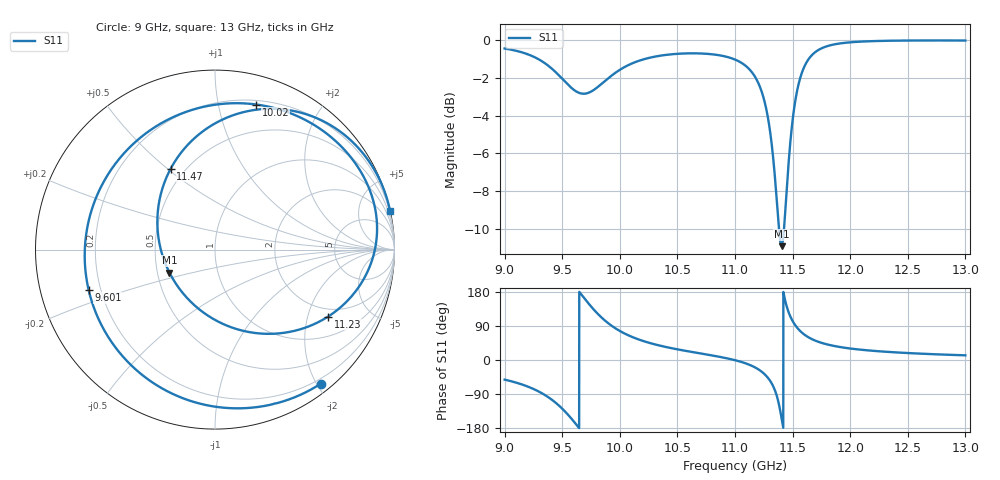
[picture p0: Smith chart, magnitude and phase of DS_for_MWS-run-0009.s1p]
! TOUCHSTONE file generated by CST DESIGN STUDIO
! Date and time: Tue Feb  4 13:35:35 2025
! Project name: C:\Work\MatlabApps\UnitCellOptimizationMatlab\CST\unitcell.cst
! Tree item: Tasks\Sweep1\SPara1\S-Parameters
! Header version: 2024
! Port assignment regex: !\s*Touchstone port\s*([0-9]+)\s*=\s*(CST MWS port|CST DES external port|CST DES block port)\s*(.+)\s* \(\"(.*)\"\)(\s*mode\s*([0-9]+))?.*
! Touchstone port assignment:
! Touchstone port 1 = CST DES external port 1 ("")
# GHz S MA R 50
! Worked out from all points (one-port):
!   4001 points, 9 GHz to 13 GHz, reference 50 ohm
!   lowest |S11| = -10.9 dB at 11.4 GHz (marker M1), VSWR 1.79, Z = 28.9 - j8.05 ohm
!   |S11| at or under -10 dB: 11.38154 GHz to 11.42545 GHz (43.91 MHz wide, 0.385 % of centre)
!   S11 on the Smith chart (normalised r, x): 9 GHz: 0.13, -2.05; 9.601 GHz: 0.15, -0.15; 10.02 GHz: 0.24, +1.30; 11.23 GHz: 1.68, -2.70; 11.47 GHz: 0.42, +0.51; 13 GHz: 0.05, +9.27
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9  0.9514 -51.8
9.176  0.9241 -67.2
9.321  0.8813 -87.2
9.416  0.8381 -106.2
9.5  0.791 -128.3
9.601  0.739 -162.3
9.694  0.7218 162.1
9.804  0.7501 123.3
9.893  0.7902 98.6
10  0.8351 76.6
10.015  0.8405 74.1
10.224  0.8936 48.1
10.5  0.921 28.1
11  0.8893 -0.5
11.136  0.8307 -14.0
11.231  0.7318 -30.7
11.332  0.4854 -69.7
11.368  0.3573 -100.1
11.404  0.2843 -153.3
11.439  0.3619 152.6
11.475  0.5147 118.6
11.5  0.614 103.0
11.572  0.8056 74.7
11.691  0.9277 51.9
11.818  0.9686 39.8
12  0.9881 30.3
12.5  0.9989 18.3
13  0.9989 12.3
